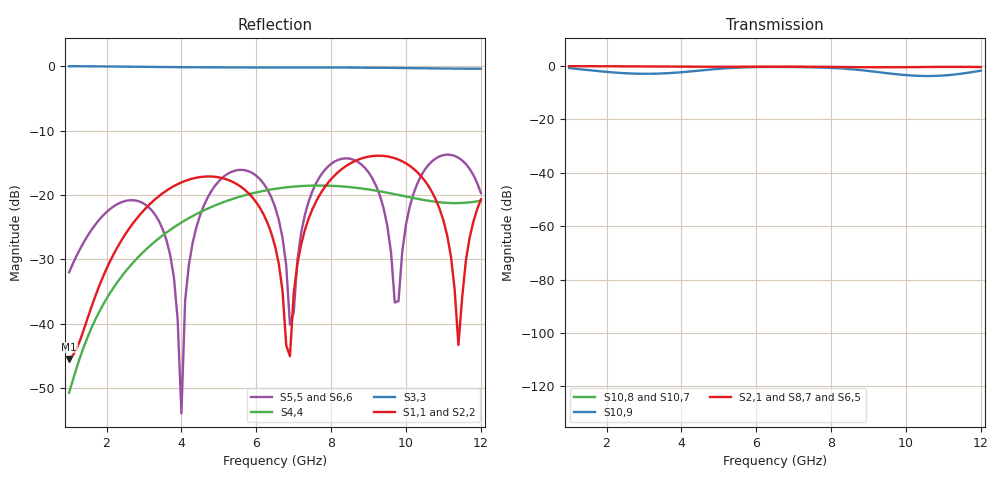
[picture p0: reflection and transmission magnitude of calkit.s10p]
! Created Thu Jan 12 15:33:20 2023
# hz S ma R 50
! 10 Port Network Data from SP1.SP block
! freq  magS1_1  angS1_1  magS1_2  angS1_2  magS1_3  angS1_3  magS1_4  angS1_4
!  magS1_5  angS1_5  magS1_6  angS1_6  magS1_7  angS1_7  magS1_8  angS1_8
!  magS1_9  angS1_9  magS1_10  angS1_10
!  magS2_1  angS2_1  magS2_2  angS2_2
!  magS2_3  angS2_3  magS2_4  angS2_4  magS2_5  angS2_5  magS2_6  angS2_6
!  magS2_7  angS2_7  magS2_8  angS2_8  magS2_9  angS2_9  magS2_10  angS2_10
!  magS3_1  angS3_1  magS3_2  angS3_2  magS3_3  angS3_3  magS3_4  angS3_4
!  magS3_5  angS3_5  magS3_6  angS3_6  magS3_7  angS3_7  magS3_8  angS3_8
!  magS3_9  angS3_9  magS3_10  angS3_10
!  magS4_1  angS4_1  magS4_2  angS4_2
!  magS4_3  angS4_3  magS4_4  angS4_4  magS4_5  angS4_5  magS4_6  angS4_6
!  magS4_7  angS4_7  magS4_8  angS4_8  magS4_9  angS4_9  magS4_10  angS4_10
!  magS5_1  angS5_1  magS5_2  angS5_2  magS5_3  angS5_3  magS5_4  angS5_4
!  magS5_5  angS5_5  magS5_6  angS5_6  magS5_7  angS5_7  magS5_8  angS5_8
!  magS5_9  angS5_9  magS5_10  angS5_10
!  magS6_1  angS6_1  magS6_2  angS6_2
!  magS6_3  angS6_3  magS6_4  angS6_4  magS6_5  angS6_5  magS6_6  angS6_6
!  magS6_7  angS6_7  magS6_8  angS6_8  magS6_9  angS6_9  magS6_10  angS6_10
!  magS7_1  angS7_1  magS7_2  angS7_2  magS7_3  angS7_3  magS7_4  angS7_4
!  magS7_5  angS7_5  magS7_6  angS7_6  magS7_7  angS7_7  magS7_8  angS7_8
!  magS7_9  angS7_9  magS7_10  angS7_10
!  magS8_1  angS8_1  magS8_2  angS8_2
!  magS8_3  angS8_3  magS8_4  angS8_4  magS8_5  angS8_5  magS8_6  angS8_6
!  magS8_7  angS8_7  magS8_8  angS8_8  magS8_9  angS8_9  magS8_10  angS8_10
!  magS9_1  angS9_1  magS9_2  angS9_2  magS9_3  angS9_3  magS9_4  angS9_4
!  magS9_5  angS9_5  magS9_6  angS9_6  magS9_7  angS9_7  magS9_8  angS9_8
!  magS9_9  angS9_9  magS9_10  angS9_10
!  magS10_1  angS10_1  magS10_2  angS10_2
!  magS10_3  angS10_3  magS10_4  angS10_4  magS10_5  angS10_5  magS10_6  angS10_6
!  magS10_7  angS10_7  magS10_8  angS10_8  magS10_9  angS10_9  magS10_10  angS10_10
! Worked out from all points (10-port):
!   111 points, 1 GHz to 12 GHz, reference 50 ohm
!   strongest paths, dB at 1 GHz, 3.7 GHz, 6.5 GHz, 9.3 GHz, 12 GHz:
!     S2,1: -0.1, -0.2, -0.2, -0.5, -0.4
!     S8,7: -0.1, -0.3, -0.4, -0.4, -0.5
!     S6,5: -0.1, -0.3, -0.4, -0.5, -0.6
!     S10,9: -0.8, -2.6, -0.4, -2.4, -1.8
!     S10,8: -, -, -, -, -
!     S10,7: -, -, -, -, -
!   lowest |S11| = -45.4 dB at 1 GHz (marker M1), VSWR 1.01, Z = 50.4 - j0.396 ohm
!   |S11| at or under -10 dB: start of sweep to end of sweep
